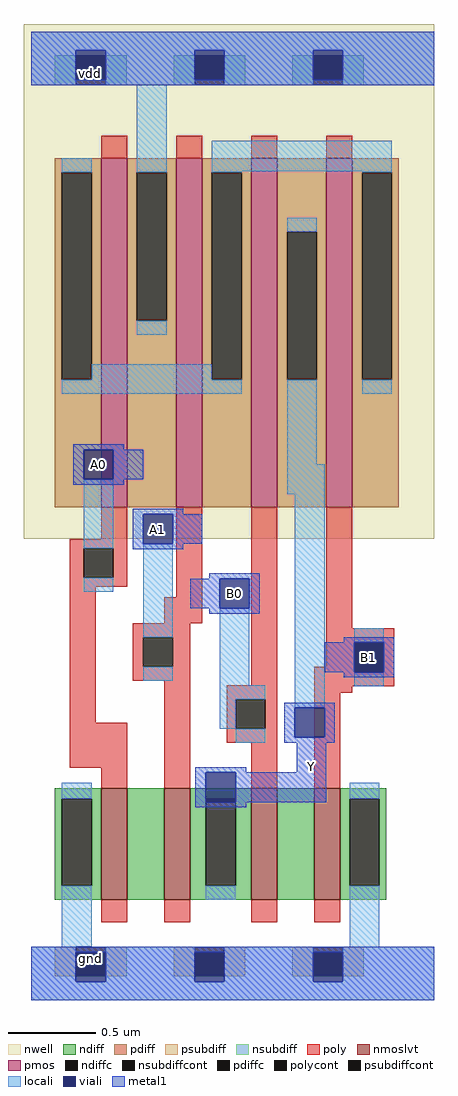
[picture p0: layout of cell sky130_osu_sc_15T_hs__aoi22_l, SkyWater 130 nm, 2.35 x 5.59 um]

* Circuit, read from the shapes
.subckt sky130_osu_sc_15T_hs__aoi22_l A0 B0 Y A1
XM1 n1 A0 gnd gnd sky130_fd_pr__nfet_01v8_lvt w=0.64 l=0.15
XM2 Y A1 n1 gnd sky130_fd_pr__nfet_01v8_lvt w=0.64 l=0.15
XM3 n2 B0 Y gnd sky130_fd_pr__nfet_01v8_lvt w=0.64 l=0.15
XM4 gnd B1 n2 gnd sky130_fd_pr__nfet_01v8_lvt w=0.64 l=0.15
XM5 vdd A0 n3 vdd sky130_fd_pr__pfet_01v8 w=2 l=0.15
XM6 n3 A1 vdd vdd sky130_fd_pr__pfet_01v8 w=2 l=0.15
XM7 Y B0 n3 vdd sky130_fd_pr__pfet_01v8 w=2 l=0.15
XM8 n3 B1 Y vdd sky130_fd_pr__pfet_01v8 w=2 l=0.15
.ends

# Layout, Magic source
magic
tech sky130A
magscale 1 2
<< nwell >>
rect -9 529 462 1119
<< nmoslvt >>
rect 80 115 110 243
rect 152 115 182 243
rect 252 115 282 243
rect 324 115 354 243
<< pmos >>
rect 80 565 110 965
rect 166 565 196 965
rect 252 565 282 965
rect 338 565 368 965
<< ndiff >>
rect 27 231 80 243
rect 27 131 35 231
rect 69 131 80 231
rect 27 115 80 131
rect 110 115 152 243
rect 182 231 252 243
rect 182 131 200 231
rect 234 131 252 231
rect 182 115 252 131
rect 282 115 324 243
rect 354 231 407 243
rect 354 131 365 231
rect 399 131 407 231
rect 354 115 407 131
<< pdiff >>
rect 27 949 80 965
rect 27 711 35 949
rect 69 711 80 949
rect 27 565 80 711
rect 110 949 166 965
rect 110 779 121 949
rect 155 779 166 949
rect 110 565 166 779
rect 196 949 252 965
rect 196 711 207 949
rect 241 711 252 949
rect 196 565 252 711
rect 282 881 338 965
rect 282 711 293 881
rect 327 711 338 881
rect 282 565 338 711
rect 368 949 421 965
rect 368 711 379 949
rect 413 711 421 949
rect 368 565 421 711
<< ndiffc >>
rect 35 131 69 231
rect 200 131 234 231
rect 365 131 399 231
<< pdiffc >>
rect 35 711 69 949
rect 121 779 155 949
rect 207 711 241 949
rect 293 711 327 881
rect 379 711 413 949
<< psubdiff >>
rect 27 27 51 61
rect 85 27 109 61
rect 163 27 187 61
rect 221 27 245 61
rect 299 27 323 61
rect 357 27 381 61
<< nsubdiff >>
rect 27 1049 51 1083
rect 85 1049 109 1083
rect 163 1049 187 1083
rect 221 1049 245 1083
rect 299 1049 323 1083
rect 357 1049 381 1083
<< psubdiffcont >>
rect 51 27 85 61
rect 187 27 221 61
rect 323 27 357 61
<< nsubdiffcont >>
rect 51 1049 85 1083
rect 187 1049 221 1083
rect 323 1049 357 1083
<< poly >>
rect 80 965 110 991
rect 166 965 196 991
rect 252 965 282 991
rect 338 965 368 991
rect 80 528 110 565
rect 44 518 110 528
rect 44 484 60 518
rect 94 484 110 518
rect 44 474 110 484
rect 44 318 74 474
rect 166 462 196 565
rect 152 432 196 462
rect 116 416 182 432
rect 116 382 128 416
rect 162 382 182 416
rect 116 366 182 382
rect 44 266 110 318
rect 80 243 110 266
rect 152 243 182 366
rect 252 361 282 565
rect 338 426 368 565
rect 338 410 416 426
rect 338 382 370 410
rect 224 345 282 361
rect 224 311 234 345
rect 268 311 282 345
rect 224 295 282 311
rect 252 243 282 295
rect 324 376 370 382
rect 404 376 416 410
rect 324 360 416 376
rect 324 352 368 360
rect 324 243 354 352
rect 80 89 110 115
rect 152 89 182 115
rect 252 89 282 115
rect 324 89 354 115
<< polycont >>
rect 60 484 94 518
rect 128 382 162 416
rect 234 311 268 345
rect 370 376 404 410
<< locali >>
rect 0 1089 462 1110
rect 0 1049 51 1089
rect 85 1049 187 1089
rect 221 1049 323 1089
rect 357 1049 462 1089
rect 35 949 69 965
rect 121 949 155 1049
rect 121 763 155 779
rect 207 950 413 985
rect 207 949 241 950
rect 69 711 207 729
rect 379 949 413 950
rect 35 695 241 711
rect 293 881 327 897
rect 60 518 94 597
rect 293 614 327 711
rect 379 695 413 711
rect 293 580 336 614
rect 60 468 94 484
rect 128 416 162 523
rect 128 366 162 382
rect 216 361 250 449
rect 216 345 268 361
rect 216 311 234 345
rect 234 295 268 311
rect 302 335 336 580
rect 370 410 404 426
rect 370 360 404 376
rect 35 231 69 249
rect 35 61 69 131
rect 200 115 234 131
rect 365 231 399 249
rect 365 61 399 131
rect 0 21 51 61
rect 85 21 187 61
rect 221 21 323 61
rect 357 21 462 61
rect 0 0 462 21
<< viali >>
rect 51 1083 85 1089
rect 51 1055 85 1083
rect 187 1083 221 1089
rect 187 1055 221 1083
rect 323 1083 357 1089
rect 323 1055 357 1083
rect 60 597 94 631
rect 128 523 162 557
rect 216 449 250 483
rect 370 376 404 410
rect 302 301 336 335
rect 200 231 234 261
rect 200 227 234 231
rect 51 27 85 55
rect 51 21 85 27
rect 187 27 221 55
rect 187 21 221 27
rect 323 27 357 55
rect 323 21 357 27
<< metal1 >>
rect 0 1089 462 1110
rect 0 1055 51 1089
rect 85 1055 187 1089
rect 221 1055 323 1089
rect 357 1055 462 1089
rect 0 1049 462 1055
rect 48 631 106 637
rect 48 597 60 631
rect 94 597 128 631
rect 48 591 106 597
rect 116 557 174 563
rect 116 523 128 557
rect 162 523 196 557
rect 116 517 174 523
rect 204 483 262 489
rect 182 449 216 483
rect 250 449 262 483
rect 204 443 262 449
rect 358 410 416 416
rect 336 376 370 410
rect 404 376 416 410
rect 358 370 416 376
rect 290 335 348 341
rect 290 301 302 335
rect 336 301 348 335
rect 290 295 348 301
rect 188 261 246 267
rect 304 261 338 295
rect 188 227 200 261
rect 234 227 338 261
rect 188 221 246 227
rect 0 55 462 61
rect 0 21 51 55
rect 85 21 187 55
rect 221 21 323 55
rect 357 21 462 55
rect 0 0 462 21
<< labels >>
rlabel viali 77 614 77 614 1 A0
port 1 n
rlabel viali 233 466 233 466 1 B0
port 2 n
rlabel viali 145 540 145 540 1 A1
port 4 n
rlabel viali 387 393 387 393 1 B1
rlabel viali 68 48 68 48 1 gnd
rlabel viali 68 1062 68 1062 1 vdd
rlabel metal1 321 268 321 268 1 Y
port 3 n
<< end >>
